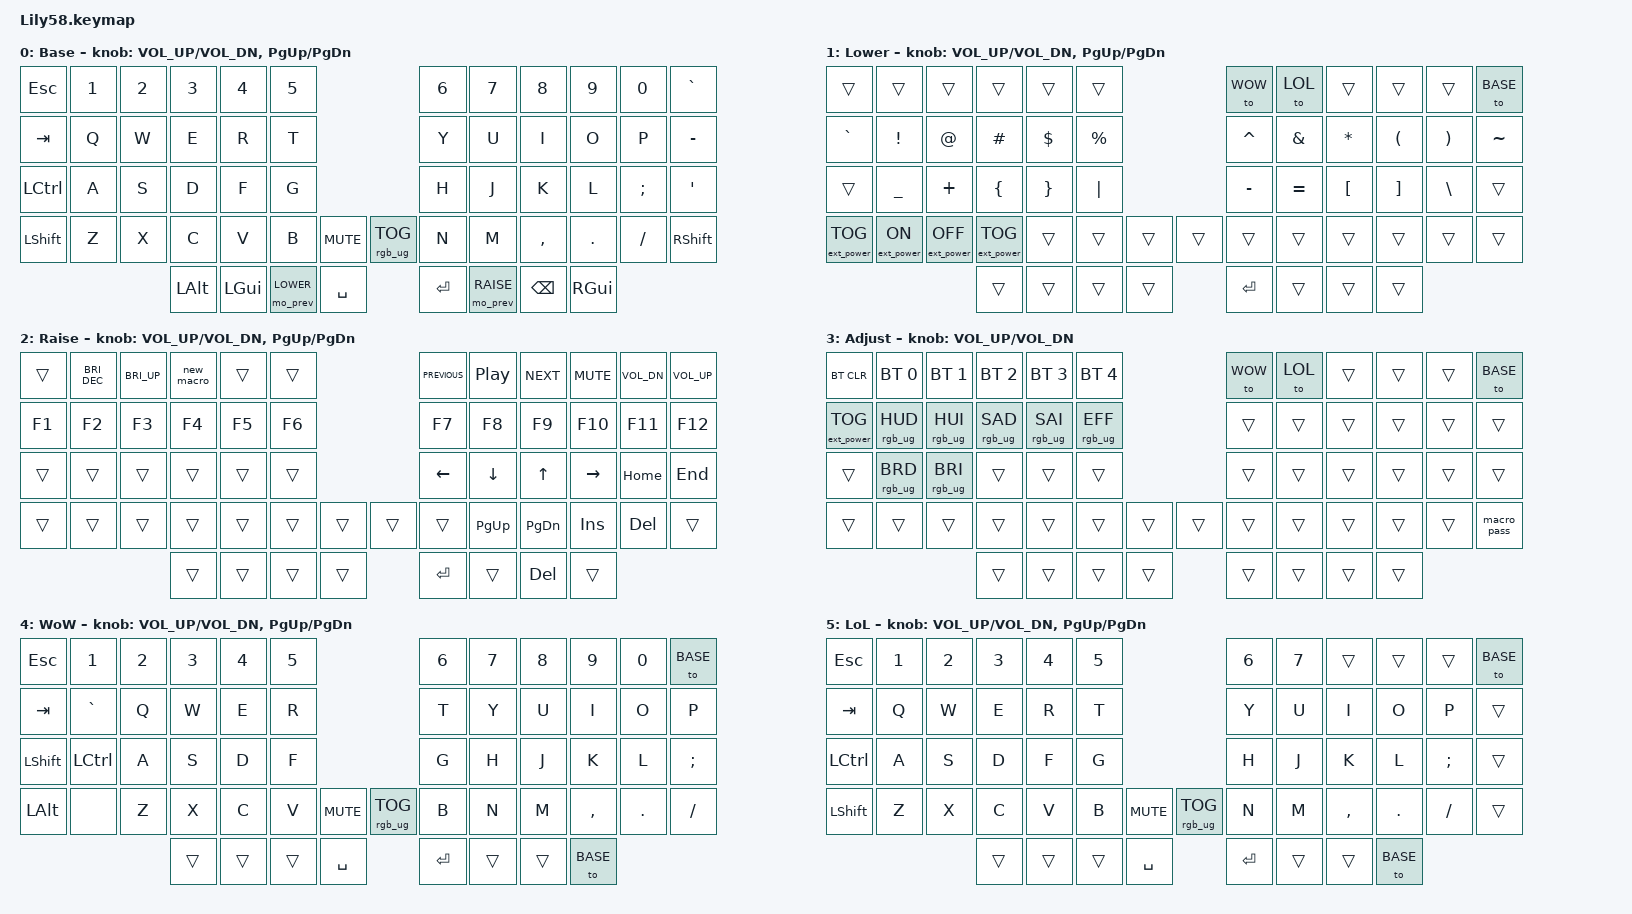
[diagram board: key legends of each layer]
/*
 * Copyright (c) 2020 The ZMK Contributors
 *
 * SPDX-License-Identifier: MIT
 */

#include <behaviors.dtsi>
#include <dt-bindings/zmk/bt.h>
#include <dt-bindings/zmk/ext_power.h>
#include <dt-bindings/zmk/keys.h>
#include <dt-bindings/zmk/rgb.h>

#define BASE 0
#define LOWER 1
#define RAISE 2
#define ADJUST 3
#define WOW 4
#define LOL 5

/ {
    // Hold LOWER + RAISE together to activate ADJUST (tri-layer).
    // Do not bind &mo ADJUST — conditional_layers owns that layer.

    behaviors {
        /* Double-tap-hold notifies the companion (Raw HID 0x20) while held. */
        mo_prev: mo_prev {
            compatible = "zmk,behavior-mo-preview";
            #binding-cells = <1>;
            display-name = "Mo Preview";
        };
    };

    conditional_layers {
        compatible = "zmk,conditional-layers";

        tri_layer {
            if-layers = <LOWER RAISE>;
            then-layer = <ADJUST>;
        };
    };

    macros {
        macro_pass: macro_pass {
            compatible = "zmk,behavior-macro";
            #binding-cells = <0>;
            bindings = <&none &kp N3 &kp D &kp I &kp S &kp N0 &kp N &kp LS(M) &kp I &kp N1 &kp A &kp N>;
            label = "MACRO_PASS";
        };

        new_macro: new_macro {
            compatible = "zmk,behavior-macro";
            #binding-cells = <0>;
            bindings = <&none &mt LCTRL UP_ARROW>;
            label = "NEW_MACRO";
        };
    };

    keymap {
        compatible = "zmk,keymap";

        default_layer {
            display-name = "Base";

            // ------------------------------------------------------------------------------------------------------------
            // |  ESC  |  1  |  2  |  3   |  4   |  5   |                   |  6   |  7    |  8    |  9   |   0   |   `   |
            // |  TAB  |  Q  |  W  |  E   |  R   |  T   |                   |  Y   |  U    |  I    |  O   |   P   |   -   |
            // |  CTRL |  A  |  S  |  D   |  F   |  G   |                   |  H   |  J    |  K    |  L   |   ;   |   '   |
            // | SHIFT |  Z  |  X  |  C   |  V   |  B   |  MUTE  |  |RGB_TOG|  N   |  M    |  ,    |  .   |   /   | SHIFT |
            //                     | ALT  | GUI  | LOWER|  SPACE |  | ENTER | RAISE| BSPC  | GUI   |

            bindings = <
&kp ESC    &kp N1  &kp N2  &kp N3    &kp N4    &kp N5                                    &kp N6     &kp N7    &kp N8     &kp N9   &kp N0    &kp GRAVE
&kp TAB    &kp Q   &kp W   &kp E     &kp R     &kp T                                     &kp Y      &kp U     &kp I      &kp O    &kp P     &kp MINUS
&kp LCTRL  &kp A   &kp S   &kp D     &kp F     &kp G                                     &kp H      &kp J     &kp K      &kp L    &kp SEMI  &kp SQT
&kp LSHFT  &kp Z   &kp X   &kp C     &kp V     &kp B      &kp C_MUTE    &rgb_ug RGB_TOG  &kp N      &kp M     &kp COMMA  &kp DOT  &kp FSLH  &kp RSHFT
                           &kp LALT  &kp LGUI  &mo_prev LOWER  &kp SPACE     &kp RET          &mo_prev RAISE  &kp BSPC  &kp RGUI
            >;

            sensor-bindings = <&inc_dec_kp C_VOL_UP C_VOL_DN &inc_dec_kp PG_UP PG_DN>;
        };

        lower_layer {
            display-name = "Lower";

            // Symbols + sticky layer toggles. Hold with RAISE for ADJUST.
            // ------------------------------------------------------------------------------------------------------------
            // |       |     |     |      |      |      |                   | WOW  | LOL   |       |      |       | BASE  |
            // |   `   |  !  |  @  |  #   |  $   |  %   |                   |  ^   |  &    |  *    |  (   |   )   |   ~   |
            // |       |  _  |  +  |  {   |  }   |  |   |                   |  -   |  =    |  [    |  ]   |   \   |       |
            // |EXTPWR | ON  | OFF | TOG  |      |      |        |  |       |      |       |       |      |       |       |
            //                     |      |      |      |        |  |       |      |       |       |

            bindings = <
&trans             &trans            &trans             &trans             &trans      &trans                        &to WOW         &to LOL           &trans      &trans      &trans        &to BASE
&kp GRAVE          &kp EXCL          &kp AT             &kp HASH           &kp DOLLAR  &kp PRCNT                     &kp CARET       &kp AMPS          &kp ASTRK   &kp LPAR    &kp RPAR      &kp TILDE
&trans             &kp UNDER         &kp PLUS           &kp LBRC           &kp RBRC    &kp PIPE                      &kp MINUS       &kp EQUAL         &kp LBKT    &kp RBKT    &kp BSLH      &trans
&ext_power EP_TOG  &ext_power EP_ON  &ext_power EP_OFF  &ext_power EP_TOG  &trans      &trans     &trans    &trans   &trans          &trans            &trans      &trans      &trans        &trans
                                                        &trans             &trans      &trans     &trans    &kp RET  &trans          &trans            &trans
            >;

            sensor-bindings = <&inc_dec_kp C_VOL_UP C_VOL_DN &inc_dec_kp PG_UP PG_DN>;
        };

        raise_layer {
            display-name = "Raise";

            // macOS actions + F-keys + navigation. Hold with LOWER for ADJUST.
            // ------------------------------------------------------------------------------------------------------------
            // |       | bri-| bri+| macro|      |      |                   | prev | pause | next  | mute | vol-  | vol+  |
            // |  F1   | F2  | F3  | F4   | F5   | F6   |                   | F7   | F8    | F9    | F10  | F11   | F12   |
            // |       |     |     |      |      |      |                   | LEFT | DOWN  | UP    | RGHT | HOME  | END   |
            // |       |     |     |      |      |      |        |  |       |      | PGUP  | PGDN  | INS  | DEL   |       |
            //                     |      |      |      |        |  |       |      |       |       |

            bindings = <
&trans  &kp C_BRI_DEC  &kp C_BRI_UP  &new_macro  &trans  &trans                     &kp C_PREVIOUS  &kp C_PLAY_PAUSE  &kp C_NEXT  &kp K_MUTE  &kp C_VOL_DN  &kp C_VOL_UP
&kp F1  &kp F2         &kp F3        &kp F4      &kp F5  &kp F6                     &kp F7          &kp F8            &kp F9      &kp F10     &kp F11      &kp F12
&trans  &trans         &trans        &trans      &trans  &trans                     &kp LEFT        &kp DOWN          &kp UP      &kp RIGHT   &kp HOME     &kp END
&trans  &trans         &trans        &trans      &trans  &trans  &trans    &trans   &trans          &kp PG_UP         &kp PG_DN   &kp INS     &kp DEL      &trans
                                       &trans    &trans  &trans  &trans    &kp RET  &trans          &kp DELETE        &trans
            >;

            sensor-bindings =
                <&inc_dec_kp C_VOL_UP C_VOL_DN>,
                <&inc_dec_kp PG_UP PG_DN>;
        };

        adjust_layer {
            display-name = "Adjust";

            // BT / RGB / sticky game layers. Active only while LOWER+RAISE are held.
            // ----------------------------------------------------------------------------------------------------------------------------
            // | BTCLR  |  BT1    |  BT2    |   BT3   |   BT4   |   BT5   |                  | WOW  | LOL  |       |      |       | BASE  |
            // | EXTPWR | RGB_HUD | RGB_HUI | RGB_SAD | RGB_SAI | RGB_EFF |                  |      |      |       |      |       |       |
            // |        | RGB_BRD | RGB_BRI |         |         |         |                  |      |      |       |      |       |       |
            // |        |         |         |         |         |         | RGB_TOG | |      |      |      |       |      |       |       |
            //                    |         |         |         |         |         | |      |      |      |       |

            bindings = <
&bt BT_CLR         &bt BT_SEL 0     &bt BT_SEL 1     &bt BT_SEL 2     &bt BT_SEL 3     &bt BT_SEL 4                       &to WOW  &to LOL  &trans  &trans  &trans  &to BASE
&ext_power EP_TOG  &rgb_ug RGB_HUD  &rgb_ug RGB_HUI  &rgb_ug RGB_SAD  &rgb_ug RGB_SAI  &rgb_ug RGB_EFF                    &trans   &trans   &trans  &trans  &trans  &trans
&trans             &rgb_ug RGB_BRD  &rgb_ug RGB_BRI  &trans           &trans           &trans                             &trans   &trans   &trans  &trans  &trans  &trans
&trans             &trans           &trans           &trans           &trans           &trans           &trans    &trans  &trans   &trans   &trans  &trans  &trans  &macro_pass
                                                     &trans           &trans           &trans           &trans    &trans  &trans   &trans   &trans
            >;

            sensor-bindings = <&inc_dec_kp C_VOL_UP C_VOL_DN>;
        };

        wow_layer {
            display-name = "WoW";

            // WASD shifted one column right so movement sits on home-row fingers.
            // Left column holds dedicated mods. Top-right corner returns to BASE.
            // ------------------------------------------------------------------------------------------------------------
            // |  ESC  |  1  |  2  |  3  |  4  |  5  |                   |  6  |  7  |  8  |  9  |  0  | BASE |
            // |  TAB  |  `  |  Q  |  W  |  E  |  R  |                   |  T  |  Y  |  U  |  I  |  O  |  P   |
            // | SHIFT | CTRL|  A  |  S  |  D  |  F  |                   |  G  |  H  |  J  |  K  |  L  |  ;   |
            // |  ALT  |     |  Z  |  X  |  C  |  V  |  MUTE  |  |RGB   |  B  |  N  |  M  |  ,  |  .  |  /   |
            //                     | GUI |     | CTRL| SPACE  |  | ENTER |     | BSPC | BASE |

            bindings = <
&kp ESC    &kp N1     &kp N2  &kp N3  &kp N4  &kp N5                                 &kp N6  &kp N7  &kp N8    &kp N9     &kp N0   &to BASE
&kp TAB    &kp GRAVE  &kp Q   &kp W   &kp E   &kp R                                  &kp T   &kp Y   &kp U     &kp I      &kp O    &kp P
&kp LSHFT  &kp LCTRL  &kp A   &kp S   &kp D   &kp F                                  &kp G   &kp H   &kp J     &kp K      &kp L    &kp SEMI
&kp LALT   &none      &kp Z   &kp X   &kp C   &kp V   &kp C_MUTE    &rgb_ug RGB_TOG  &kp B   &kp N   &kp M     &kp COMMA  &kp DOT  &kp FSLH
                              &trans  &trans  &trans  &kp SPACE     &kp RET          &trans  &trans  &to BASE
            >;

            sensor-bindings =
                <&inc_dec_kp C_VOL_UP C_VOL_DN>,
                <&inc_dec_kp PG_UP PG_DN>;
        };

        lol_layer {
            display-name = "LoL";

            // Standard LoL positions (QWER abilities, D/F summoners, B recall, P shop).
            // Dedicated Alt/Ctrl for self-cast and ability ranking. Not WASD-shifted.
            // ------------------------------------------------------------------------------------------------------------
            // |  ESC  |  1  |  2  |  3  |  4  |  5  |                   |  6  |  7  |     |     |     | BASE |
            // |  TAB  |  Q  |  W  |  E  |  R  |  T  |                   |  Y  |  U  |  I  |  O  |  P  |      |
            // |  CTRL |  A  |  S  |  D  |  F  |  G  |                   |  H  |  J  |  K  |  L  |  ;  |      |
            // | SHIFT |  Z  |  X  |  C  |  V  |  B  |  MUTE  |  |RGB   |  N  |  M  |  ,  |  .  |  /  |      |
            //                     | ALT |     |     | SPACE  |  | ENTER |     | BSPC | BASE |

            bindings = <
&kp ESC    &kp N1  &kp N2  &kp N3  &kp N4  &kp N5                                 &kp N6  &kp N7  &trans     &trans   &trans    &to BASE
&kp TAB    &kp Q   &kp W   &kp E   &kp R   &kp T                                  &kp Y   &kp U   &kp I      &kp O    &kp P     &trans
&kp LCTRL  &kp A   &kp S   &kp D   &kp F   &kp G                                  &kp H   &kp J   &kp K      &kp L    &kp SEMI  &trans
&kp LSHFT  &kp Z   &kp X   &kp C   &kp V   &kp B   &kp C_MUTE    &rgb_ug RGB_TOG  &kp N   &kp M   &kp COMMA  &kp DOT  &kp FSLH  &trans
                           &trans  &trans  &trans  &kp SPACE     &kp RET          &trans  &trans  &to BASE
            >;

            sensor-bindings =
                <&inc_dec_kp C_VOL_UP C_VOL_DN>,
                <&inc_dec_kp PG_UP PG_DN>;
        };

        extra1 { status = "reserved"; };

        extra2 { status = "reserved"; };
    };
};
